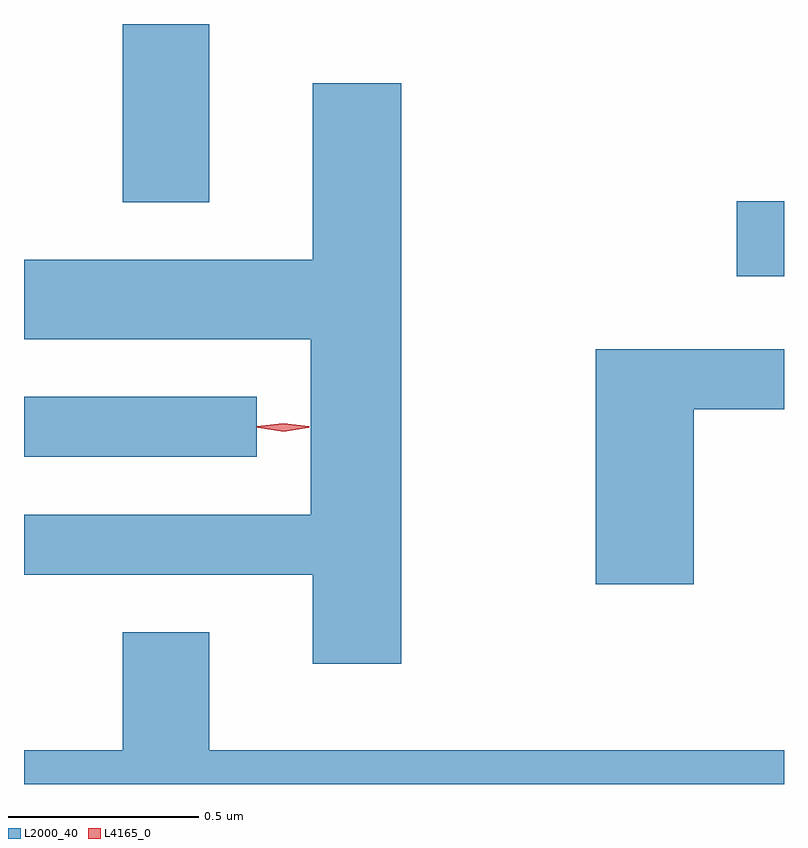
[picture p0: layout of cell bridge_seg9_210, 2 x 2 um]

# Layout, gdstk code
import gdstk
lib = gdstk.Library(unit=1e-6, precision=1e-09)
def R(c, l, rs):  # rectangles x0, y0, x1, y1
    for r in rs: c.add(gdstk.rectangle(r[:2], r[2:], *l))
def P(c, l, *ps):  # polygons
    for p in ps: c.add(gdstk.Polygon(p, *l))
L2000_40 = (2000, 40)
L4165_0 = (4165, 0)

bridge_seg9_210 = lib.new_cell('bridge_seg9_210')
R(bridge_seg9_210, L2000_40, [(1270.481,1979.536,1271.093,1979.694), (1272.356,1980.011,1272.481,1980.209), (1270.741,1980.206,1270.969,1980.675)])
P(bridge_seg9_210, L2000_40, [(1271.474,1980.519),(1271.241,1980.519),(1271.241,1980.054),(1270.481,1980.054),(1270.481,1979.846),(1271.236,1979.846),(1271.236,1979.384),(1270.481,1979.384),(1270.481,1979.226),(1271.241,1979.226),(1271.241,1978.991),(1271.474,1978.991)],
  [(1272.244,1979.661),(1272.481,1979.661),(1272.481,1979.819),(1271.986,1979.819),(1271.986,1979.201),(1272.244,1979.201)],
  [(1272.481,1978.764),(1270.969,1978.764),(1270.969,1979.074),(1270.741,1979.074),(1270.741,1978.764),(1270.481,1978.764),(1270.481,1978.675),(1272.481,1978.675)])
P(bridge_seg9_210, L4165_0, [(1271.164,1979.602),(1271.098,1979.612),(1271.097,1979.612),(1271.098,1979.613),(1271.164,1979.622),(1271.229,1979.613),(1271.23,1979.612),(1271.229,1979.612)],
  [(1271.163,1979.605),(1271.094,1979.614),(1271.094,1979.615),(1271.094,1979.616),(1271.163,1979.625),(1271.232,1979.616),(1271.232,1979.615),(1271.232,1979.614)])

lib.write_gds('bridge_seg9_210.gds')
